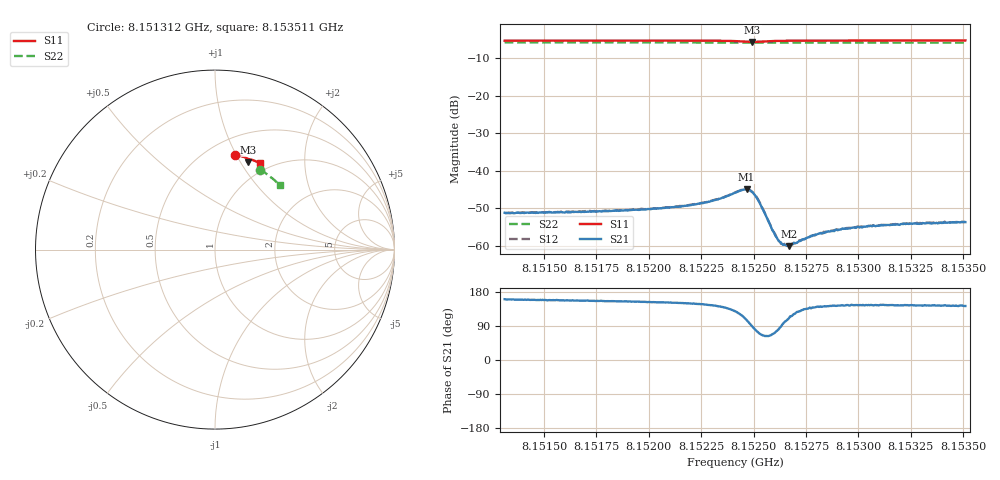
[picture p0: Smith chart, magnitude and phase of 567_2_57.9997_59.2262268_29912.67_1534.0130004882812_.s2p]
#  HZ  S  RI  R  50.00
! Rohde & Schwarz Vector Network Analyzer
! Rohde-Schwarz,ZNB20-2Port,1311601062101988,3.16
! Created: UTC 3/21/2024, 1:15:45 AM
! freq[Hz]  re:S11  im:S11  re:S21  im:S21  re:S12  im:S12  re:S22  im:S22
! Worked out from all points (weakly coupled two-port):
!   401 points, 8.151312 GHz to 8.153511 GHz, reference 50 ohm
!   highest |S21| = -44.94 dB at 8.152466 GHz (marker M1); lowest = -60.1 dB at 8.15267 GHz (marker M2)
!   lowest |S11| = -5.7 dB at 8.152494 GHz (marker M3), VSWR 3.16, Z = 40.4 + j53.7 ohm
!   |S11| at or under -10 dB: nowhere
!   |S22| runs from -5.9 to -5.8 dB; largest |S21 - S12| = 0.00012
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8.1513124e9  0.1115 0.5281  -0.0026 0.000928  -0.00256 0.000994  0.2509 0.4457
8.1516806e9  0.1372 0.5225  -0.00261 0.00112  -0.00262 0.00115  0.271 0.4332
8.1520488e9  0.1631 0.5153  -0.00278 0.00148  -0.00279 0.0015  0.2905 0.4198
8.1521532e9  0.1709 0.5125  -0.0029 0.00165  -0.00292 0.00173  0.2958 0.4158
8.1522687e9  0.18 0.5087  -0.00316 0.0021  -0.00313 0.00215  0.3016 0.4111
8.1523511e9  0.1871 0.5038  -0.00336 0.00282  -0.00333 0.00288  0.3058 0.4079
8.1524115e9  0.1915 0.4969  -0.00321 0.00396  -0.00318 0.00406  0.3088 0.4054
8.1524445e9  0.1913 0.491  -0.00251 0.00491  -0.00247 0.00499  0.3104 0.4039
8.1524665e9  0.1886 0.4871  -0.00154 0.00545  -0.00149 0.0055  0.3112 0.403
8.152483e9  0.185 0.4859  -0.000535 0.00545  -0.00051 0.00549  0.3117 0.4023
8.152494e9  0.1823 0.4861  0.000136 0.00522  0.000182 0.00522  0.3123 0.4021
8.1525215e9  0.1777 0.4906  0.0012 0.00393  0.00128 0.00393  0.3135 0.4012
8.1525434e9  0.1778 0.4951  0.00131 0.00282  0.00134 0.00281  0.3145 0.4004
8.1525929e9  0.183 0.5013  0.000568 0.00147  0.000599 0.00146  0.3171 0.3986
8.1526204e9  0.1864 0.5025  0.000173 0.00114  0.000184 0.00119  0.3186 0.3976
8.1526424e9  0.1891 0.5029  -0.000126 0.00102  -8.41e-05 0.00104  0.3199 0.3967
8.1526698e9  0.1922 0.5029  -0.000353 0.000929  -0.000342 0.00101  0.3212 0.3955
8.1527797e9  0.2021 0.5012  -0.00101 0.000899  -0.00102 0.000921  0.3266 0.391
8.1529061e9  0.2119 0.4982  -0.00131 0.000972  -0.00132 0.00101  0.3328 0.3857
8.153049e9  0.222 0.4944  -0.00153 0.00106  -0.00149 0.00107  0.3392 0.3796
8.1531479e9  0.2287 0.4916  -0.00155 0.00108  -0.00154 0.00112  0.3441 0.3752
8.1535107e9  0.2521 0.4808  -0.00165 0.00126  -0.00166 0.0013  0.3601 0.3588
